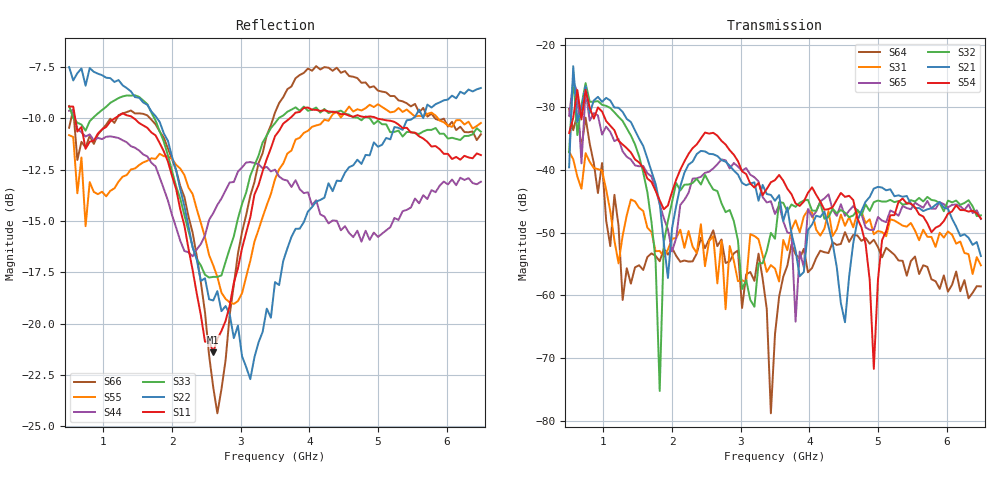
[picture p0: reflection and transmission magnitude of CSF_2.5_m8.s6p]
!Keysight Technologies,M9804A,MY58100912,A.14.10.03
!Date: Thursday, April 27, 2023 10:28:33
!Correction: S11(C  6-Port  )
!S12(C  6-Port  )
!S13(C  6-Port  )
!S14(C  6-Port  )
!S15(C  6-Port  )
!S16(C  6-Port  )
!S21(C  6-Port  )
!S22(C  6-Port  )
!S23(C  6-Port  )
!S24(C  6-Port  )
!S25(C  6-Port  )
!S26(C  6-Port  )
!S31(C  6-Port  )
!S32(C  6-Port  )
!S33(C  6-Port  )
!S34(C  6-Port  )
!S35(C  6-Port  )
!S36(C  6-Port  )
!S41(C  6-Port  )
!S42(C  6-Port  )
!S43(C  6-Port  )
!S44(C  6-Port  )
!S45(C  6-Port  )
!S46(C  6-Port  )
!S51(C  6-Port  )
!S52(C  6-Port  )
!S53(C  6-Port  )
!S54(C  6-Port  )
!S55(C  6-Port  )
!S56(C  6-Port  )
!S61(C  6-Port  )
!S62(C  6-Port  )
!S63(C  6-Port  )
!S64(C  6-Port  )
!S65(C  6-Port  )
!S66(C  6-Port  )
!S6P File: Measurement: :
# Hz S  RI  R 50
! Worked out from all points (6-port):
!   101 points, 500 MHz to 6.5 GHz, reference 50 ohm
!   strongest paths, dB at 500 MHz, 2 GHz, 3.5 GHz, 5 GHz, 6.5 GHz:
!     S54: -34.1, -43.5, -41.6, -57.5, -47.7
!     S21: -39.6, -49.3, -44.9, -42.7, -53.7
!     S32: -37.2, -45.1, -51.0, -44.9, -47.2
!     S65: -31.3, -53.0, -47.0, -47.5, -47.8
!     S31: -37.1, -51.0, -55.7, -49.7, -55.2
!     S64: -30.3, -52.4, -66.2, -52.3, -58.6
!   lowest |S11| = -21.4 dB at 2.6 GHz (marker M1), VSWR 1.19, Z = 42.4 + j2.17 ohm
!   |S11| at or under -10 dB: 588.3 MHz to 1.164 GHz (575.4 MHz wide, 65.7 % of centre); 1.444 GHz to 3.715 GHz (2.27 GHz wide, 88 % of centre); 4.987 GHz to end of sweep
